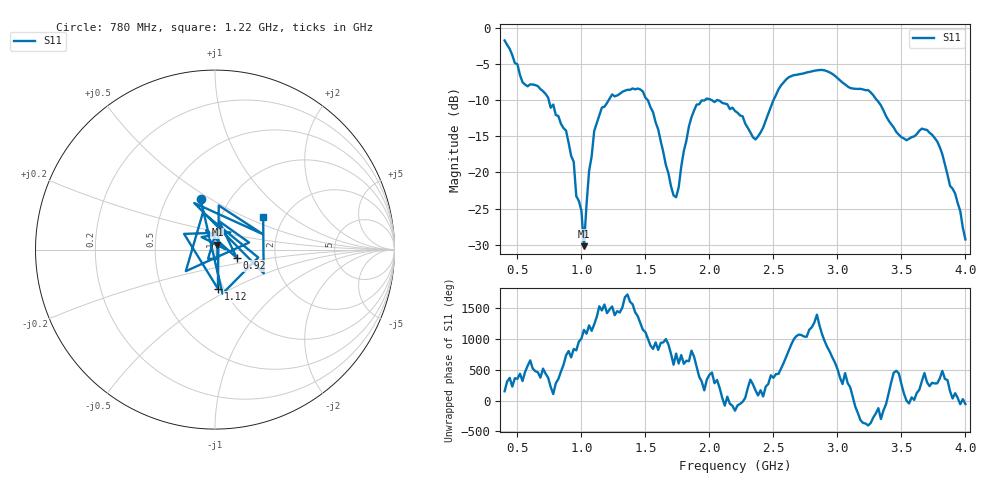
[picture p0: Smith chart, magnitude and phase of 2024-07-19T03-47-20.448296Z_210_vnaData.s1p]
!Created with skrf (http://scikit-rf.org).
# Hz S RI R 50.0
!freq ReS11 ImS11
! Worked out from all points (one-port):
!   181 points, 400 MHz to 4 GHz, reference 50 ohm
!   lowest |S11| = -30.2 dB at 1.02 GHz (marker M1), VSWR 1.06, Z = 51.3 + j2.85 ohm
!   |S11| at or under -10 dB: 744.7 MHz to 1.214 GHz (469.2 MHz wide, 47.9 % of centre); 2.016 GHz to 2.501 GHz (485.6 MHz wide, 21.5 % of centre); 3.308 GHz to end of sweep (the widest 3 of 4)
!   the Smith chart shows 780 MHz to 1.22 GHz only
!   S11 on the Smith chart (normalised r, x): 780 MHz: 0.73, +0.45; 920 MHz: 1.27, -0.12; 1.12 GHz: 0.94, -0.43; 1.22 GHz: 1.58, +0.63
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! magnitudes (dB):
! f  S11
! 400 MHz  -1.8
! 540 MHz  -7.6
! 780 MHz  -10.6
! 860 MHz  -13.9
! 920 MHz  -17.7
! 940 MHz  -18.6
! 960 MHz  -23.3
! 1 GHz  -25.3
! 1.02 GHz  -30.2
! 1.06 GHz  -19.8
! 1.12 GHz  -13.2
! 1.22 GHz  -9.8
! 1.3 GHz  -9.2
! 1.48 GHz  -8.8
! 1.6 GHz  -14.1
! 1.72 GHz  -23.2
! 1.76 GHz  -22.1
! 1.84 GHz  -13.7
! 1.9 GHz  -10.6
! 2.2 GHz  -11.5
! 2.36 GHz  -15.5
! 2.66 GHz  -6.6
! 2.9 GHz  -5.9
! 3.1 GHz  -8.3
! 3.24 GHz  -8.6
! 3.56 GHz  -15.4
! 3.78 GHz  -15.7
! 4 GHz  -29.3
